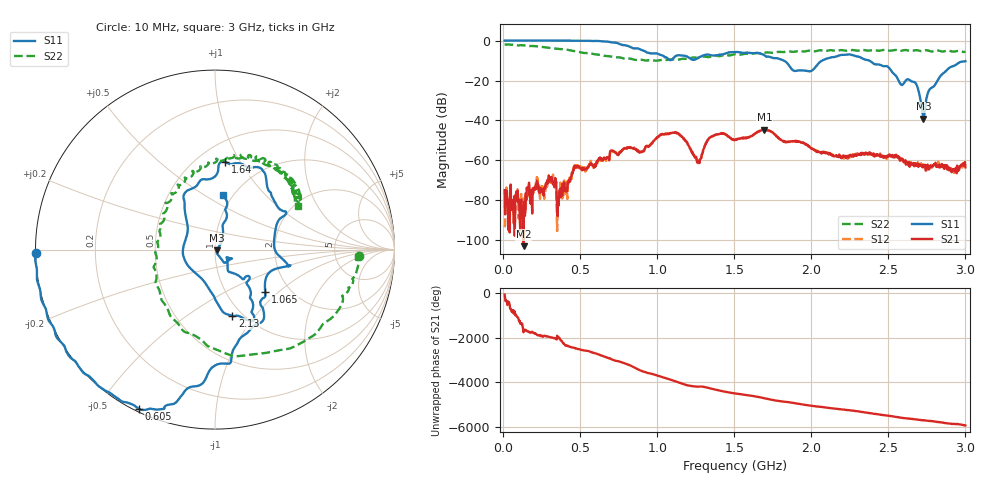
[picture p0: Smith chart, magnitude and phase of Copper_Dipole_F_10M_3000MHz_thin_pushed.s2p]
!  08/05/2026  14:18:39
! Ref Plane: 0.000 mm
# MHZ S MA R  50
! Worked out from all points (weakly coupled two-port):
!   1001 points, 10 MHz to 3 GHz, reference 50 ohm
!   highest |S21| = -44.61 dB at 1.696 GHz (marker M1); lowest = -103.0 dB at 132.6 MHz (marker M2)
!   lowest |S11| = -39.2 dB at 2.728 GHz (marker M3), VSWR 1.02, Z = 51 - j0.451 ohm
!   |S11| at or under -10 dB: 1.821 GHz to 2.07 GHz (249 MHz wide, 12.8 % of centre); 2.376 GHz to end of sweep
!   |S22| runs from -10.1 to -1.9 dB; largest |S21 - S12| = 0.00029
!   S11 on the Smith chart (normalised r, x): 10 MHz: 0.00, -0.01; 605 MHz: 0.01, -0.63; 1.065 GHz: 1.51, -0.81; 1.64 GHz: 0.67, +0.87; 2.13 GHz: 0.90, -0.77; 3 GHz: 0.91, +0.60
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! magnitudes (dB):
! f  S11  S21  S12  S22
! 10 MHz  0.0  -74.9  -93.5  -1.9
! 132.6 MHz  0.0  -103.0  -83.8  -2.4
! 303 MHz  0.0  -69.4  -70.5  -3.7
! 362.8 MHz  0.0  -79.1  -75.7  -4.2
! 509.3 MHz  -0.1  -63.9  -63.4  -6.0
! 605 MHz  -0.1  -61.3  -61.4  -6.9
! 1.009 GHz  -6.7  -48.0  -48.2  -9.9
! 1.065 GHz  -8.8  -46.6  -46.8  -9.7
! 1.149 GHz  -7.4  -47.4  -47.4  -9.3
! 1.269 GHz  -8.5  -60.5  -60.7  -8.7
! 1.353 GHz  -7.4  -48.0  -48.2  -7.9
! 1.505 GHz  -5.7  -49.8  -49.6  -6.8
! 1.64 GHz  -6.2  -46.4  -46.4  -6.3
! 1.696 GHz  -7.3  -44.6  -44.8  -6.1
! 2.004 GHz  -15.0  -54.0  -54.4  -5.2
! 2.13 GHz  -8.4  -57.1  -56.8  -4.8
! 2.504 GHz  -13.6  -57.3  -57.7  -5.0
! 2.584 GHz  -22.1  -59.0  -59.3  -5.1
! 2.674 GHz  -21.1  -61.7  -61.8  -4.8
! 2.728 GHz  -39.2  -62.2  -62.7  -5.1
! 2.842 GHz  -17.5  -62.6  -63.1  -5.4
! 3 GHz  -10.3  -63.5  -62.5  -5.6
